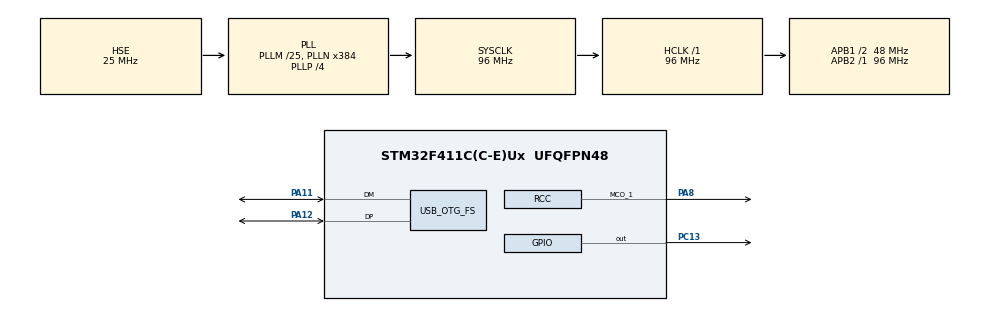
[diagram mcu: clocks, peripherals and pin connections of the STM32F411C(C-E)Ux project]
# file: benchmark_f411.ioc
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Mcu.Family=STM32F4
Mcu.Name=STM32F411C(C-E)Ux
Mcu.Package=UFQFPN48
NVIC.PriorityGroup=NVIC_PRIORITYGROUP_4
PA11.Mode=Device_Only
PA11.Signal=USB_OTG_FS_DM
PA12.Mode=Device_Only
PA12.Signal=USB_OTG_FS_DP
PA13.Mode=Trace_Asynchronous_SW
PA13.Signal=SYS_JTMS-SWDIO
PA14.Mode=Trace_Asynchronous_SW
PA14.Signal=SYS_JTCK-SWCLK
PA8.GPIO_Speed=GPIO_SPEED_FREQ_VERY_HIGH
PA8.Mode=Clock-out-1
PA8.Signal=RCC_MCO_1
PB3.Mode=Trace_Asynchronous_SW
PB3.Signal=SYS_JTDO-SWO
PC13-ANTI_TAMP.Signal=GPIO_Output
PH0\ -\ OSC_IN.Mode=HSE-External-Oscillator
PH0\ -\ OSC_IN.Signal=RCC_OSC_IN
PH1\ -\ OSC_OUT.Mode=HSE-External-Oscillator
PH1\ -\ OSC_OUT.Signal=RCC_OSC_OUT
ProjectManager.HeapSize=0x200
ProjectManager.StackSize=0x400
ProjectManager.TargetToolchain=CMake
RCC.48MHZClocksFreq_Value=48000000
RCC.AHBFreq_Value=96000000
RCC.APB1CLKDivider=RCC_HCLK_DIV2
RCC.APB1Freq_Value=48000000
RCC.APB1TimFreq_Value=96000000
RCC.APB2Freq_Value=96000000
RCC.APB2TimFreq_Value=96000000
RCC.CortexFreq_Value=96000000
RCC.EnbaleCSS=true
RCC.HCLKFreq_Value=96000000
RCC.HSE_VALUE=25000000
RCC.HSI_VALUE=16000000
RCC.LSE_VALUE=32768
RCC.PLLM=25
RCC.PLLN=384
RCC.PLLP=RCC_PLLP_DIV4
RCC.PLLQ=8
RCC.RCC_MCO1Source=RCC_MCO1SOURCE_PLLCLK
RCC.RCC_MCODiv1=RCC_MCODIV_4
RCC.SYSCLKFreq_VALUE=96000000
RCC.SYSCLKSource=RCC_SYSCLKSOURCE_PLLCLK
RCC.VCOOutputFreq_Value=384000000
USB_OTG_FS.VirtualMode=Device_Only
board=custom

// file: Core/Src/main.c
/* USER CODE BEGIN Header */
/**
  ******************************************************************************
  * @file           : main.c
  * @brief          : Main program body
  ******************************************************************************
  * @attention
  *
  * Copyright (c) 2026 STMicroelectronics.
  * All rights reserved.
  *
  * This software is licensed under terms that can be found in the LICENSE file
  * in the root directory of this software component.
  * If no LICENSE file comes with this software, it is provided AS-IS.
  *
  ******************************************************************************
  */
/* USER CODE END Header */
#include "main.h"
#include "usb_otg.h"
#include "gpio.h"

/* USER CODE BEGIN Includes */
#include "bench.h"
#ifdef BENCH_WITH_TINYUSB
#include "usb_glue.h"
#include "abf_cdc.h"
#include "tusb.h"
#endif
/* USER CODE END Includes */

void SystemClock_Config(void);

int main(void)
{

  /* MCU Configuration--------------------------------------------------------*/

  /* Reset of all peripherals, Initializes the Flash interface and the Systick. */
  HAL_Init();

  /* Configure the system clock */
  SystemClock_Config();

  /* Initialize all configured peripherals */
  MX_GPIO_Init();
  /* MX_USB_OTG_FS_PCD_Init() is deliberately NOT called -- TinyUSB drives the
   * OTG_FS registers directly and HAL_PCD_Init() would reconfigure the same
   * core underneath it. See usb/usb_glue.c. */
  /* USER CODE BEGIN 2 */

  /* Run the throughput probe once, at boot, before anything else can compete
   * for the core. Results land in g_bench -- read it with the debugger
   * ("print g_bench", or dump the struct) and over SWO/ITM if trace is up. */
#ifdef BENCH_WITH_PROBE
  bench_run_all();
#else
  /* Deployed streaming image: no probe, but the cycle counter must run for
   * the ABF1 tick source. g_bench.done drives the heartbeat only. */
  g_bench.cpu_hz = SystemCoreClock;
  g_bench.done   = bench_dwt_init() ? 1u : 0u;
#endif

  /* USB comes up only AFTER the probe has finished. The probe masks interrupts
   * around every timed region, and an enumeration storm arriving mid-suite
   * would be exactly the kind of I/O-inside-a-measurement the harness design
   * rules forbid. Order matters here; do not move this above bench_run_all(). */
#ifdef BENCH_WITH_TINYUSB
  usb_glue_abf_init();   /* image CRC + HELLO identity + binding, before enumeration */
  usb_glue_init();
#endif

  /* USER CODE END 2 */

  /* Infinite loop */
  while (1)
  {

    /* USER CODE BEGIN 3 */
#ifdef BENCH_WITH_TINYUSB
    tud_task();
    abf_cdc_service();   /* task 7's framing; never blocks, one packet per call */
#endif

    /* Heartbeat: slow blink means the suite completed, fast means it did not
     * (DWT never started). PC13 is active-low on this board. Non-blocking now
     * -- HAL_Delay() here would stall tud_task() for half a second at a time
     * and the device would fail to enumerate. */
    {
      static uint32_t last = 0u;
      const uint32_t period = g_bench.done ? 500u : 100u;
      const uint32_t now = HAL_GetTick();
      if ((now - last) >= period) {
        last = now;
        HAL_GPIO_TogglePin(GPIOC, GPIO_PIN_13);
      }
    }
  }
  /* USER CODE END 3 */
}

void SystemClock_Config(void)
{
  RCC_OscInitTypeDef RCC_OscInitStruct = {0};
  RCC_ClkInitTypeDef RCC_ClkInitStruct = {0};

  /** Configure the main internal regulator output voltage
  */
  __HAL_RCC_PWR_CLK_ENABLE();
  __HAL_PWR_VOLTAGESCALING_CONFIG(PWR_REGULATOR_VOLTAGE_SCALE1);

  /** Initializes the RCC Oscillators according to the specified parameters
  * in the RCC_OscInitTypeDef structure.
  */
  RCC_OscInitStruct.OscillatorType = RCC_OSCILLATORTYPE_HSE;
  RCC_OscInitStruct.HSEState = RCC_HSE_ON;
  RCC_OscInitStruct.PLL.PLLState = RCC_PLL_ON;
  RCC_OscInitStruct.PLL.PLLSource = RCC_PLLSOURCE_HSE;
  RCC_OscInitStruct.PLL.PLLM = 25;
  RCC_OscInitStruct.PLL.PLLN = 384;
  RCC_OscInitStruct.PLL.PLLP = RCC_PLLP_DIV4;
  RCC_OscInitStruct.PLL.PLLQ = 8;
  if (HAL_RCC_OscConfig(&RCC_OscInitStruct) != HAL_OK)
  {
    Error_Handler();
  }

  /** Initializes the CPU, AHB and APB buses clocks
  */
  RCC_ClkInitStruct.ClockType = RCC_CLOCKTYPE_HCLK|RCC_CLOCKTYPE_SYSCLK
                              |RCC_CLOCKTYPE_PCLK1|RCC_CLOCKTYPE_PCLK2;
  RCC_ClkInitStruct.SYSCLKSource = RCC_SYSCLKSOURCE_PLLCLK;
  RCC_ClkInitStruct.AHBCLKDivider = RCC_SYSCLK_DIV1;
  RCC_ClkInitStruct.APB1CLKDivider = RCC_HCLK_DIV2;
  RCC_ClkInitStruct.APB2CLKDivider = RCC_HCLK_DIV1;

  if (HAL_RCC_ClockConfig(&RCC_ClkInitStruct, FLASH_LATENCY_3) != HAL_OK)
  {
    Error_Handler();
  }
  HAL_RCC_MCOConfig(RCC_MCO1, RCC_MCO1SOURCE_PLLCLK, RCC_MCODIV_4);

  /** Enables the Clock Security System
  */
  HAL_RCC_EnableCSS();
}

void Error_Handler(void)
{
  __disable_irq();
  while (1)
  {
  }
}
